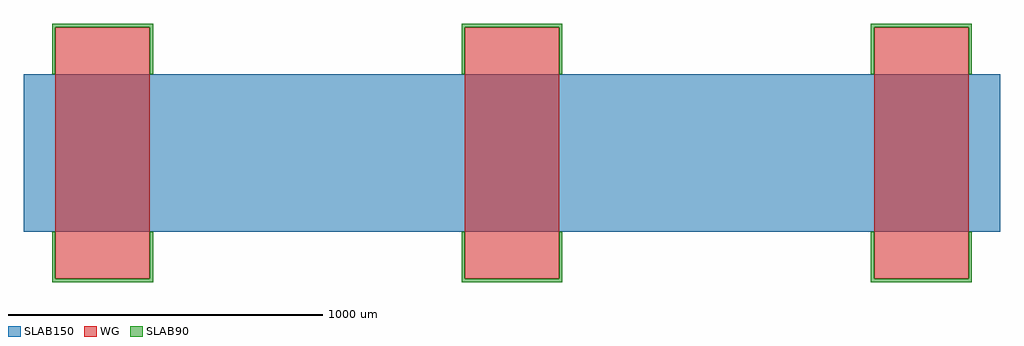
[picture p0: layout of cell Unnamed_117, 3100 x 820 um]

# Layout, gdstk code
import gdstk
lib = gdstk.Library(unit=1e-6, precision=1e-09)
def R(c, l, rs):  # rectangles x0, y0, x1, y1
    for r in rs: c.add(gdstk.rectangle(r[:2], r[2:], *l))
def P(c, l, *ps):  # polygons
    for p in ps: c.add(gdstk.Polygon(p, *l))
WG = (1, 0)
SLAB150 = (2, 0)
SLAB90 = (3, 0)

rectangle_gdsfactorypco_ = lib.new_cell('rectangle_gdsfactorypco_d7a62ac7')
R(rectangle_gdsfactorypco_, SLAB150, [(0,0,3100,500)])

c_rectangle_gdsfactorypco_ = lib.new_cell('rectangle_gdsfactorypco_f723c1cb')
R(c_rectangle_gdsfactorypco_, WG, [(0,0,300,800)])

unnamed_117 = lib.new_cell('Unnamed_117')
P(unnamed_117, SLAB90, [(-10,650),(-10,810),(310,810),(310,650),(300,650),(300,800),(0,800),(0,650)],
  [(1290,650),(1290,810),(1610,810),(1610,650),(1600,650),(1600,800),(1300,800),(1300,650)],
  [(2590,650),(2590,810),(2910,810),(2910,650),(2900,650),(2900,800),(2600,800),(2600,650)],
  [(-10,-10),(-10,150),(0,150),(0,0),(300,0),(300,150),(310,150),(310,-10)],
  [(1290,-10),(1290,150),(1300,150),(1300,0),(1600,0),(1600,150),(1610,150),(1610,-10)],
  [(2590,-10),(2590,150),(2600,150),(2600,0),(2900,0),(2900,150),(2910,150),(2910,-10)])
unnamed_117.add(gdstk.Reference(rectangle_gdsfactorypco_, (-100,150)))
unnamed_117.add(gdstk.Reference(c_rectangle_gdsfactorypco_, (0,0)))
unnamed_117.add(gdstk.Reference(c_rectangle_gdsfactorypco_, (1300,0)))
unnamed_117.add(gdstk.Reference(c_rectangle_gdsfactorypco_, (2600,0)))

lib.write_gds('Unnamed_117.gds')
